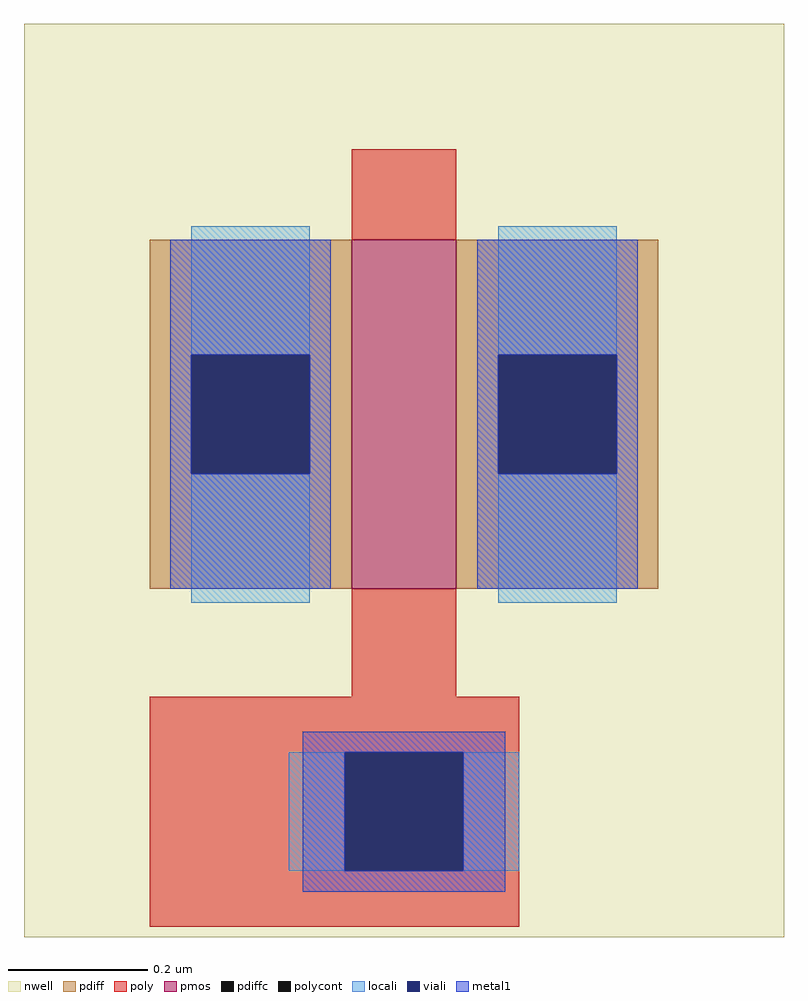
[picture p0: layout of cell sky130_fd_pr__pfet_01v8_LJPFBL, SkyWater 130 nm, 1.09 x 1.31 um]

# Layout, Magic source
magic
tech sky130A
magscale 1 2
<< nwell >>
rect -109 -114 109 148
<< pmos >>
rect -15 -14 15 86
<< pdiff >>
rect -73 53 -15 86
rect -73 19 -61 53
rect -27 19 -15 53
rect -73 -14 -15 19
rect 15 53 73 86
rect 15 19 27 53
rect 61 19 73 53
rect 15 -14 73 19
<< pdiffc >>
rect -61 19 -27 53
rect 27 19 61 53
<< poly >>
rect -15 86 15 112
rect -15 -45 15 -14
rect -73 -61 33 -45
rect -73 -95 -17 -61
rect 17 -95 33 -61
rect -73 -111 33 -95
<< polycont >>
rect -17 -95 17 -61
<< locali >>
rect -61 53 -27 90
rect -61 -18 -27 19
rect 27 53 61 90
rect 27 -18 61 19
rect -33 -95 -17 -61
rect 17 -95 33 -61
<< viali >>
rect -61 19 -27 53
rect 27 19 61 53
rect -17 -95 17 -61
<< metal1 >>
rect -67 53 -21 86
rect -67 19 -61 53
rect -27 19 -21 53
rect -67 -14 -21 19
rect 21 53 67 86
rect 21 19 27 53
rect 61 19 67 53
rect 21 -14 67 19
rect -29 -61 29 -55
rect -29 -95 -17 -61
rect 17 -95 29 -61
rect -29 -101 29 -95
<< end >>
